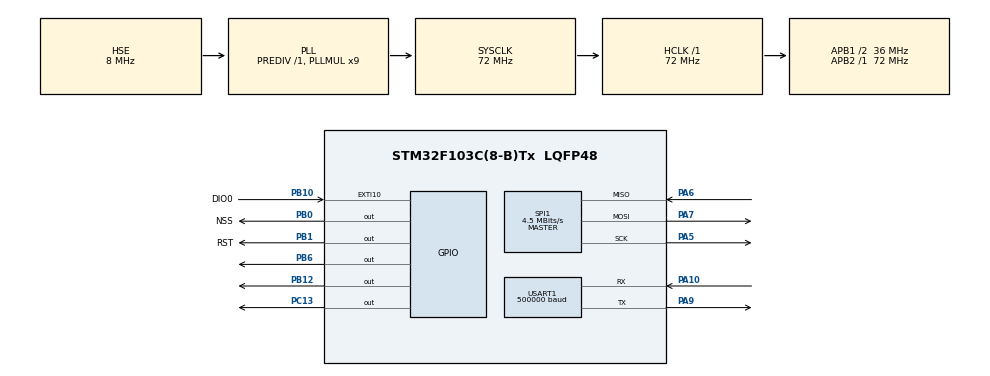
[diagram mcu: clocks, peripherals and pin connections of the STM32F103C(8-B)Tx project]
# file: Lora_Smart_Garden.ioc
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FREERTOS.Tasks01=SensorLight,0,128,StartSensorLight,Default,NULL,Dynamic,NULL,NULL;LoraTransmit,0,128,StartLoraTransmit,Default,NULL,Dynamic,NULL,NULL;doam,0,128,StartGetValueDoAm,Default,NULL,Dynamic,NULL,NULL;DoamDat,0,128,StartGetValueDoAmDat,Default,NULL,Dynamic,NULL,NULL
FREERTOS.configUSE_NEWLIB_REENTRANT=1
IWDG.Prescaler=IWDG_PRESCALER_64
IWDG.Reload=1874
Mcu.Family=STM32F1
Mcu.Name=STM32F103C(8-B)Tx
Mcu.Package=LQFP48
NVIC.EXTI15_10_IRQn=true\:5\:0\:false\:false\:true\:true\:true\:true\:true
NVIC.PriorityGroup=NVIC_PRIORITYGROUP_4
NVIC.TIM3_IRQn=true\:15\:0\:false\:false\:true\:false\:false\:true\:true
NVIC.TimeBase=TIM3_IRQn
NVIC.TimeBaseIP=TIM3
PA10.Mode=Asynchronous
PA10.Signal=USART1_RX
PA13.Mode=Serial_Wire
PA13.Signal=SYS_JTMS-SWDIO
PA14.Mode=Serial_Wire
PA14.Signal=SYS_JTCK-SWCLK
PA5.Mode=Full_Duplex_Master
PA5.Signal=SPI1_SCK
PA6.Mode=Full_Duplex_Master
PA6.Signal=SPI1_MISO
PA7.Mode=Full_Duplex_Master
PA7.Signal=SPI1_MOSI
PA9.Mode=Asynchronous
PA9.Signal=USART1_TX
PB0.GPIO_Label=NSS
PB0.PinState=GPIO_PIN_SET
PB0.Signal=GPIO_Output
PB1.GPIO_Label=RST
PB1.PinState=GPIO_PIN_SET
PB1.Signal=GPIO_Output
PB10.GPIO_Label=DIO0
PB10.GPIO_ModeDefaultEXTI=GPIO_MODE_IT_RISING
PB10.Signal=GPXTI10
PB12.GPIO_PuPd=GPIO_PULLDOWN
PB12.Signal=GPIO_Output
PB6.GPIO_PuPd=GPIO_PULLDOWN
PB6.Signal=GPIO_Output
PC13-TAMPER-RTC.Signal=GPIO_Output
PD0-OSC_IN.Mode=HSE-External-Oscillator
PD0-OSC_IN.Signal=RCC_OSC_IN
PD1-OSC_OUT.Mode=HSE-External-Oscillator
PD1-OSC_OUT.Signal=RCC_OSC_OUT
ProjectManager.HeapSize=0x200
ProjectManager.StackSize=0x400
ProjectManager.TargetToolchain=STM32CubeIDE
RCC.AHBFreq_Value=72000000
RCC.APB1CLKDivider=RCC_HCLK_DIV2
RCC.APB1Freq_Value=36000000
RCC.APB1TimFreq_Value=72000000
RCC.APB2Freq_Value=72000000
RCC.APB2TimFreq_Value=72000000
RCC.HCLKFreq_Value=72000000
RCC.PLLMUL=RCC_PLL_MUL9
RCC.PLLSourceVirtual=RCC_PLLSOURCE_HSE
RCC.SYSCLKFreq_VALUE=72000000
RCC.SYSCLKSource=RCC_SYSCLKSOURCE_PLLCLK
RCC.USBFreq_Value=72000000
SPI1.BaudRatePrescaler=SPI_BAUDRATEPRESCALER_16
SPI1.CalculateBaudRate=4.5 MBits/s
SPI1.DataSize=SPI_DATASIZE_8BIT
SPI1.Direction=SPI_DIRECTION_2LINES
SPI1.Mode=SPI_MODE_MASTER
SPI1.VirtualType=VM_MASTER
USART1.BaudRate=500000
USART1.VirtualMode=VM_ASYNC
VP_FREERTOS_VS_CMSIS_V1.Mode=CMSIS_V1
VP_IWDG_VS_IWDG.Mode=IWDG_Activate
VP_SYS_VS_tim3.Mode=TIM3
board=custom

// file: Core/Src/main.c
/* USER CODE BEGIN Header */
/**
  ******************************************************************************
  * @file           : main.c
  * @brief          : Main program body
  ******************************************************************************
  * @attention
  *
  * Copyright (c) 2024 STMicroelectronics.
  * All rights reserved.
  *
  * This software is licensed under terms that can be found in the LICENSE file
  * in the root directory of this software component.
  * If no LICENSE file comes with this software, it is provided AS-IS.
  *
  ******************************************************************************
  */
/* USER CODE END Header */
#include "main.h"
#include "cmsis_os.h"

/* USER CODE BEGIN Includes */
#include "LoRa.h"
/* USER CODE END Includes */

IWDG_HandleTypeDef hiwdg;

SPI_HandleTypeDef hspi1;

UART_HandleTypeDef huart1;

osThreadId SensorLightHandle;
osThreadId LoraTransmitHandle;
osThreadId doamHandle;
osThreadId DoamDatHandle;
/* USER CODE BEGIN PV */
LoRa myLoRa;
uint8_t LoraState = 0;
uint8_t TxData[256];
uint8_t RxData[256];
uint8_t Rx_start = 0;
volatile static uint8_t ledData;

uint8_t LocalAddress = 0x02; /* Addess of this devince (Slaver)*/
uint8_t DestinationAddress = 0x01; /* destination address is address of Master (ESP32)*/

/* USER CODE END PV */

void SystemClock_Config(void);
static void MX_GPIO_Init(void);
static void MX_SPI1_Init(void);
static void MX_USART1_UART_Init(void);
static void MX_IWDG_Init(void);
void StartSensorLight(void const * argument);
void StartLoraTransmit(void const * argument);
void StartGetValueDoAm(void const * argument);
void StartGetValueDoAmDat(void const * argument);

int main(void)
{
  /* USER CODE BEGIN 1 */
	uint8_t index = 0;
	char *str = "helloworldhehee";
  /* USER CODE END 1 */

  /* MCU Configuration--------------------------------------------------------*/

  /* Reset of all peripherals, Initializes the Flash interface and the Systick. */
  HAL_Init();

  /* Configure the system clock */
  SystemClock_Config();

  /* Initialize all configured peripherals */
  MX_GPIO_Init();
  MX_SPI1_Init();
  MX_USART1_UART_Init();
  MX_IWDG_Init();
  /* USER CODE BEGIN 2 */

  myLoRa = newLoRa();

  myLoRa.CS_port         = NSS_GPIO_Port;
  myLoRa.CS_pin          = NSS_Pin;
  myLoRa.reset_port      = RST_GPIO_Port;
  myLoRa.reset_pin       = RST_Pin;
  myLoRa.DIO0_port       = DIO0_GPIO_Port;
  myLoRa.DIO0_pin        = DIO0_Pin;
  myLoRa.hSPIx           = &hspi1;

  if(LoRa_init(&myLoRa))
  {
	  LoraState = 1;
  }
  LoRa_startReceiving(&myLoRa);
  TxData[0] = LocalAddress;
  for(index = 1; index < 10; index++)
  {
	  TxData[index] = (uint8_t)str[index-1];
  }
  /* USER CODE END 2 */

  /* Create the thread(s) */
  /* definition and creation of SensorLight */
  osThreadDef(SensorLight, StartSensorLight, osPriorityNormal, 0, 128);
  SensorLightHandle = osThreadCreate(osThread(SensorLight), NULL);

  /* definition and creation of LoraTransmit */
  osThreadDef(LoraTransmit, StartLoraTransmit, osPriorityNormal, 0, 128);
  LoraTransmitHandle = osThreadCreate(osThread(LoraTransmit), NULL);

  /* definition and creation of doam */
  osThreadDef(doam, StartGetValueDoAm, osPriorityNormal, 0, 128);
  doamHandle = osThreadCreate(osThread(doam), NULL);

  /* definition and creation of DoamDat */
  osThreadDef(DoamDat, StartGetValueDoAmDat, osPriorityNormal, 0, 128);
  DoamDatHandle = osThreadCreate(osThread(DoamDat), NULL);

  /* Start scheduler */
  osKernelStart();

  /* We should never get here as control is now taken by the scheduler */
  /* Infinite loop */
  while (1)
  {

    /* USER CODE BEGIN 3 */
//	  __disable_irq();

//	  __enable_irq();

//	  HAL_GPIO_WritePin(GPIOB, GPIO_PIN_13, RxData[1]);
	  HAL_Delay(1);
  }
  /* USER CODE END 3 */
}

void SystemClock_Config(void)
{
  RCC_OscInitTypeDef RCC_OscInitStruct = {0};
  RCC_ClkInitTypeDef RCC_ClkInitStruct = {0};

  /** Initializes the RCC Oscillators according to the specified parameters
  * in the RCC_OscInitTypeDef structure.
  */
  RCC_OscInitStruct.OscillatorType = RCC_OSCILLATORTYPE_LSI|RCC_OSCILLATORTYPE_HSE;
  RCC_OscInitStruct.HSEState = RCC_HSE_ON;
  RCC_OscInitStruct.HSEPredivValue = RCC_HSE_PREDIV_DIV1;
  RCC_OscInitStruct.HSIState = RCC_HSI_ON;
  RCC_OscInitStruct.LSIState = RCC_LSI_ON;
  RCC_OscInitStruct.PLL.PLLState = RCC_PLL_ON;
  RCC_OscInitStruct.PLL.PLLSource = RCC_PLLSOURCE_HSE;
  RCC_OscInitStruct.PLL.PLLMUL = RCC_PLL_MUL9;
  if (HAL_RCC_OscConfig(&RCC_OscInitStruct) != HAL_OK)
  {
    Error_Handler();
  }

  /** Initializes the CPU, AHB and APB buses clocks
  */
  RCC_ClkInitStruct.ClockType = RCC_CLOCKTYPE_HCLK|RCC_CLOCKTYPE_SYSCLK
                              |RCC_CLOCKTYPE_PCLK1|RCC_CLOCKTYPE_PCLK2;
  RCC_ClkInitStruct.SYSCLKSource = RCC_SYSCLKSOURCE_PLLCLK;
  RCC_ClkInitStruct.AHBCLKDivider = RCC_SYSCLK_DIV1;
  RCC_ClkInitStruct.APB1CLKDivider = RCC_HCLK_DIV2;
  RCC_ClkInitStruct.APB2CLKDivider = RCC_HCLK_DIV1;

  if (HAL_RCC_ClockConfig(&RCC_ClkInitStruct, FLASH_LATENCY_2) != HAL_OK)
  {
    Error_Handler();
  }
}

static void MX_IWDG_Init(void)
{

  hiwdg.Instance = IWDG;
  hiwdg.Init.Prescaler = IWDG_PRESCALER_64;
  hiwdg.Init.Reload = 1874;
  if (HAL_IWDG_Init(&hiwdg) != HAL_OK)
  {
    Error_Handler();
  }

}

static void MX_SPI1_Init(void)
{

  /* SPI1 parameter configuration*/
  hspi1.Instance = SPI1;
  hspi1.Init.Mode = SPI_MODE_MASTER;
  hspi1.Init.Direction = SPI_DIRECTION_2LINES;
  hspi1.Init.DataSize = SPI_DATASIZE_8BIT;
  hspi1.Init.CLKPolarity = SPI_POLARITY_LOW;
  hspi1.Init.CLKPhase = SPI_PHASE_1EDGE;
  hspi1.Init.NSS = SPI_NSS_SOFT;
  hspi1.Init.BaudRatePrescaler = SPI_BAUDRATEPRESCALER_16;
  hspi1.Init.FirstBit = SPI_FIRSTBIT_MSB;
  hspi1.Init.TIMode = SPI_TIMODE_DISABLE;
  hspi1.Init.CRCCalculation = SPI_CRCCALCULATION_DISABLE;
  hspi1.Init.CRCPolynomial = 10;
  if (HAL_SPI_Init(&hspi1) != HAL_OK)
  {
    Error_Handler();
  }

}

static void MX_USART1_UART_Init(void)
{

  huart1.Instance = USART1;
  huart1.Init.BaudRate = 500000;
  huart1.Init.WordLength = UART_WORDLENGTH_8B;
  huart1.Init.StopBits = UART_STOPBITS_1;
  huart1.Init.Parity = UART_PARITY_NONE;
  huart1.Init.Mode = UART_MODE_TX_RX;
  huart1.Init.HwFlowCtl = UART_HWCONTROL_NONE;
  huart1.Init.OverSampling = UART_OVERSAMPLING_16;
  if (HAL_UART_Init(&huart1) != HAL_OK)
  {
    Error_Handler();
  }

}

static void MX_GPIO_Init(void)
{
  GPIO_InitTypeDef GPIO_InitStruct = {0};

  /* GPIO Ports Clock Enable */
  __HAL_RCC_GPIOC_CLK_ENABLE();
  __HAL_RCC_GPIOD_CLK_ENABLE();
  __HAL_RCC_GPIOA_CLK_ENABLE();
  __HAL_RCC_GPIOB_CLK_ENABLE();

  /*Configure GPIO pin Output Level */
  HAL_GPIO_WritePin(GPIOC, GPIO_PIN_13, GPIO_PIN_RESET);

  /*Configure GPIO pin Output Level */
  HAL_GPIO_WritePin(GPIOB, NSS_Pin|RST_Pin, GPIO_PIN_SET);

  /*Configure GPIO pin Output Level */
  HAL_GPIO_WritePin(GPIOB, GPIO_PIN_12|GPIO_PIN_6, GPIO_PIN_RESET);

  /*Configure GPIO pin : PC13 */
  GPIO_InitStruct.Pin = GPIO_PIN_13;
  GPIO_InitStruct.Mode = GPIO_MODE_OUTPUT_PP;
  GPIO_InitStruct.Pull = GPIO_NOPULL;
  GPIO_InitStruct.Speed = GPIO_SPEED_FREQ_LOW;
  HAL_GPIO_Init(GPIOC, &GPIO_InitStruct);

  /*Configure GPIO pins : NSS_Pin RST_Pin */
  GPIO_InitStruct.Pin = NSS_Pin|RST_Pin;
  GPIO_InitStruct.Mode = GPIO_MODE_OUTPUT_PP;
  GPIO_InitStruct.Pull = GPIO_NOPULL;
  GPIO_InitStruct.Speed = GPIO_SPEED_FREQ_LOW;
  HAL_GPIO_Init(GPIOB, &GPIO_InitStruct);

  /*Configure GPIO pin : DIO0_Pin */
  GPIO_InitStruct.Pin = DIO0_Pin;
  GPIO_InitStruct.Mode = GPIO_MODE_IT_RISING;
  GPIO_InitStruct.Pull = GPIO_NOPULL;
  HAL_GPIO_Init(DIO0_GPIO_Port, &GPIO_InitStruct);

  /*Configure GPIO pins : PB12 PB6 */
  GPIO_InitStruct.Pin = GPIO_PIN_12|GPIO_PIN_6;
  GPIO_InitStruct.Mode = GPIO_MODE_OUTPUT_PP;
  GPIO_InitStruct.Pull = GPIO_PULLDOWN;
  GPIO_InitStruct.Speed = GPIO_SPEED_FREQ_LOW;
  HAL_GPIO_Init(GPIOB, &GPIO_InitStruct);

  /* EXTI interrupt init*/
  HAL_NVIC_SetPriority(EXTI15_10_IRQn, 5, 0);
  HAL_NVIC_EnableIRQ(EXTI15_10_IRQn);

}

/* USER CODE BEGIN 4 */

void HAL_GPIO_EXTI_Callback(uint16_t GPIO_Pin)
{
	if(GPIO_Pin == DIO0_Pin)
	{
		Rx_start = 1;
		LoRa_receive(&myLoRa,RxData,5);
		if(ledData != RxData[1])
		{
			ledData = RxData[1];
			HAL_GPIO_WritePin(GPIOB, GPIO_PIN_12, ledData);
		}
	}
//	HAL_GPIO_TogglePin(GPIOB, GPIO_PIN_6);
}

/* USER CODE END 4 */

void StartSensorLight(void const * argument)
{
  for(;;)
  {
    osDelay(1);
  }
}

void StartLoraTransmit(void const * argument)
{
  /* USER CODE BEGIN StartLoraTransmit */
  /* Infinite loop */
  for(;;)
  {
	  if(LoRa_transmit(&myLoRa, TxData, 8, 100))
	  	  {
	  		  HAL_Delay(1000);
	  		  HAL_GPIO_TogglePin(GPIOC, GPIO_PIN_13);
	  //		  HAL_GPIO_TogglePin(GPIOB, GPIO_PIN_6);
	  		  HAL_IWDG_Refresh(&hiwdg);
	  		  Rx_start = 0;
	  	  };
    osDelay(1);
  }
  /* USER CODE END StartLoraTransmit */
}

void StartGetValueDoAm(void const * argument)
{
  for(;;)
  {
    osDelay(1);
  }
}

void StartGetValueDoAmDat(void const * argument)
{
  for(;;)
  {
    osDelay(1);
  }
}

void HAL_TIM_PeriodElapsedCallback(TIM_HandleTypeDef *htim)
{
  if (htim->Instance == TIM3) {
    HAL_IncTick();
  }
}

void Error_Handler(void)
{
  __disable_irq();
  while (1)
  {
  }
}
